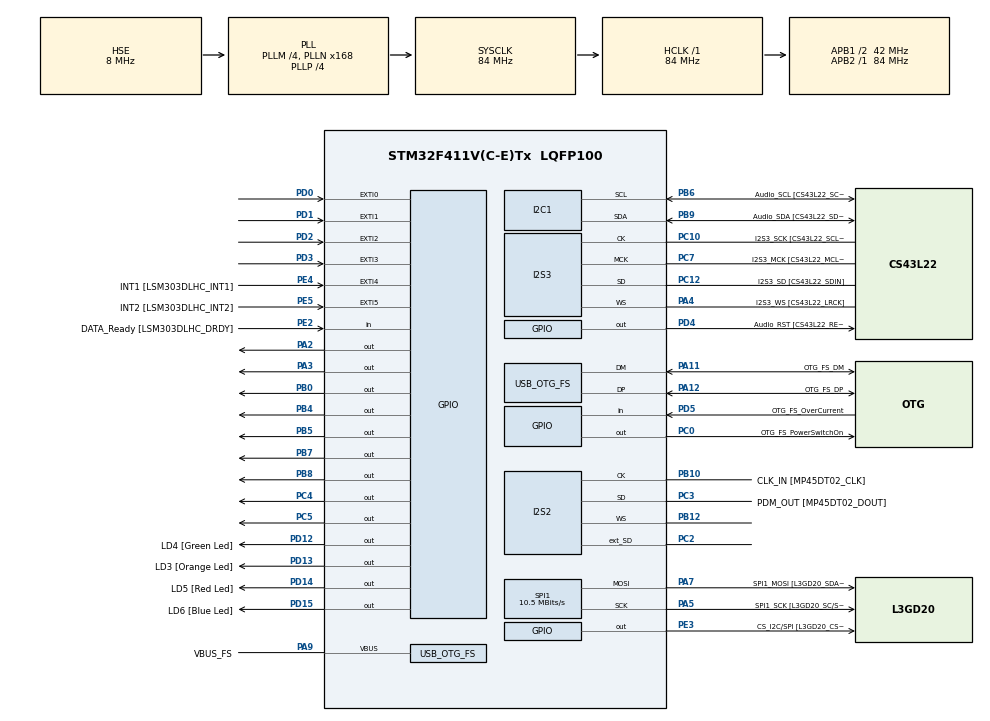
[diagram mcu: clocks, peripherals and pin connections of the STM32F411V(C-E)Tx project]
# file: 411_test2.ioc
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I2S2.AudioFreq=I2S_AUDIOFREQ_96K
I2S2.ErrorAudioFreq=0.15 %
I2S2.FullDuplexMode=I2S_FULLDUPLEXMODE_ENABLE
I2S2.Instance=SPI$Index
I2S2.RealAudioFreq=96.153 KHz
I2S2.VirtualMode=I2S_MODE_MASTER
I2S3.AudioFreq=I2S_AUDIOFREQ_96K
I2S3.ErrorAudioFreq=-6.99 %
I2S3.FullDuplexMode=I2S_FULLDUPLEXMODE_DISABLE
I2S3.Instance=SPI$Index
I2S3.RealAudioFreq=89.285 KHz
I2S3.VirtualMode=I2S_MODE_MASTER
Mcu.Family=STM32F4
Mcu.Name=STM32F411V(C-E)Tx
Mcu.Package=LQFP100
NVIC.EXTI0_IRQn=true\:0\:0\:false\:false\:true\:true\:true\:true
NVIC.EXTI1_IRQn=true\:0\:0\:false\:false\:true\:true\:true\:true
NVIC.EXTI2_IRQn=true\:0\:0\:false\:false\:true\:true\:true\:true
NVIC.EXTI3_IRQn=true\:0\:0\:false\:false\:true\:true\:true\:true
NVIC.OTG_FS_IRQn=true\:0\:0\:false\:false\:true\:true\:true\:true
NVIC.PriorityGroup=NVIC_PRIORITYGROUP_0
PA1.Signal=SPI4_MOSI
PA10.GPIO_Label=OTG_FS_ID
PA10.Signal=USB_OTG_FS_ID
PA11.GPIO_Label=OTG_FS_DM
PA11.Mode=Device_Only
PA11.Signal=USB_OTG_FS_DM
PA12.GPIO_Label=OTG_FS_DP
PA12.Mode=Device_Only
PA12.Signal=USB_OTG_FS_DP
PA13.GPIO_Label=SWDIO
PA13.Signal=SYS_JTMS-SWDIO
PA14.GPIO_Label=SWCLK
PA14.Signal=SYS_JTCK-SWCLK
PA2.Signal=GPIO_Output
PA3.Signal=GPIO_Output
PA4.GPIO_Label=I2S3_WS [CS43L22_LRCK]
PA4.GPIO_Mode=GPIO_MODE_AF_PP
PA4.GPIO_PuPd=GPIO_NOPULL
PA4.GPIO_Speed=GPIO_SPEED_FREQ_LOW
PA4.Mode=Half_Duplex_Master
PA4.Signal=I2S3_WS
PA5.GPIO_Label=SPI1_SCK [L3GD20_SC/SPC]
PA5.Mode=TX_Only_Simplex_Unidirect_Master
PA5.Signal=SPI1_SCK
PA6.GPIO_Label=SPI1_MISO [L3GD20_AS0/SDO]
PA6.Signal=SPI1_MISO
PA7.GPIO_Label=SPI1_MOSI [L3GD20_SDA/SDI/SDO]
PA7.Mode=TX_Only_Simplex_Unidirect_Master
PA7.Signal=SPI1_MOSI
PA9.GPIO_Label=VBUS_FS
PA9.Mode=Activate_VBUS
PA9.Signal=USB_OTG_FS_VBUS
PB0.Signal=GPIO_Output
PB10.GPIO_Label=CLK_IN [MP45DT02_CLK]
PB10.Mode=Full_Duplex_Master
PB10.Signal=I2S2_CK
PB12.Mode=Full_Duplex_Master
PB12.Signal=I2S2_WS
PB3.GPIO_Label=SWO
PB3.Signal=SYS_JTDO-SWO
PB4.Signal=GPIO_Output
PB5.Signal=GPIO_Output
PB6.GPIO_Label=Audio_SCL [CS43L22_SCL]
PB6.GPIO_Mode=GPIO_MODE_AF_OD
PB6.GPIO_Pu=GPIO_PULLUP
PB6.GPIO_PuPd=GPIO_NOPULL
PB6.GPIO_Speed=GPIO_SPEED_FREQ_LOW
PB6.Mode=I2C
PB6.Signal=I2C1_SCL
PB7.Signal=GPIO_Output
PB8.Signal=GPIO_Output
PB9.GPIO_Label=Audio_SDA [CS43L22_SDA]
PB9.GPIO_Mode=GPIO_MODE_AF_OD
PB9.GPIO_Pu=GPIO_PULLUP
PB9.GPIO_PuPd=GPIO_NOPULL
PB9.GPIO_Speed=GPIO_SPEED_FREQ_LOW
PB9.Mode=I2C
PB9.Signal=I2C1_SDA
PC0.GPIO_Label=OTG_FS_PowerSwitchOn
PC0.PinState=GPIO_PIN_SET
PC0.Signal=GPIO_Output
PC10.GPIO_Label=I2S3_SCK [CS43L22_SCLK]
PC10.GPIO_Mode=GPIO_MODE_AF_PP
PC10.GPIO_PuPd=GPIO_NOPULL
PC10.GPIO_Speed=GPIO_SPEED_FREQ_LOW
PC10.Mode=Half_Duplex_Master
PC10.Signal=I2S3_CK
PC12.GPIO_Label=I2S3_SD [CS43L22_SDIN]
PC12.GPIO_Mode=GPIO_MODE_AF_PP
PC12.GPIO_PuPd=GPIO_NOPULL
PC12.GPIO_Speed=GPIO_SPEED_FREQ_LOW
PC12.Mode=Half_Duplex_Master
PC12.Signal=I2S3_SD
PC14-OSC32_IN.GPIO_Label=PC14-OSC32_IN
PC14-OSC32_IN.Mode=LSE-External-Oscillator
PC14-OSC32_IN.Signal=RCC_OSC32_IN
PC15-OSC32_OUT.GPIO_Label=PC15-OSC32_OUT
PC15-OSC32_OUT.Mode=LSE-External-Oscillator
PC15-OSC32_OUT.Signal=RCC_OSC32_OUT
PC2.Mode=Full_Duplex_Master
PC2.Signal=I2S2_ext_SD
PC3.GPIO_Label=PDM_OUT [MP45DT02_DOUT]
PC3.Mode=Full_Duplex_Master
PC3.Signal=I2S2_SD
PC4.Signal=GPIO_Output
PC5.Signal=GPIO_Output
PC7.GPIO_Label=I2S3_MCK [CS43L22_MCLK]
PC7.GPIO_Mode=GPIO_MODE_AF_PP
PC7.GPIO_PuPd=GPIO_NOPULL
PC7.GPIO_Speed=GPIO_SPEED_FREQ_LOW
PC7.Mode=Master_Clock_Activated
PC7.Signal=I2S3_MCK
PD0.GPIO_PuPd=GPIO_PULLUP
PD0.Signal=GPXTI0
PD1.GPIO_PuPd=GPIO_PULLUP
PD1.Signal=GPXTI1
PD12.GPIO_Label=LD4 [Green Led]
PD12.GPIO_PuPd=GPIO_NOPULL
PD12.GPIO_Speed=GPIO_SPEED_FREQ_LOW
PD12.Signal=GPIO_Output
PD13.GPIO_Label=LD3 [Orange Led]
PD13.GPIO_PuPd=GPIO_NOPULL
PD13.GPIO_Speed=GPIO_SPEED_FREQ_LOW
PD13.Signal=GPIO_Output
PD14.GPIO_Label=LD5 [Red Led]
PD14.GPIO_PuPd=GPIO_NOPULL
PD14.GPIO_Speed=GPIO_SPEED_FREQ_LOW
PD14.Signal=GPIO_Output
PD15.GPIO_Label=LD6 [Blue Led]
PD15.GPIO_PuPd=GPIO_NOPULL
PD15.GPIO_Speed=GPIO_SPEED_FREQ_LOW
PD15.Signal=GPIO_Output
PD2.GPIO_PuPd=GPIO_PULLUP
PD2.Signal=GPXTI2
PD3.GPIO_PuPd=GPIO_PULLUP
PD3.Signal=GPXTI3
PD4.GPIO_Label=Audio_RST [CS43L22_RESET]
PD4.Signal=GPIO_Output
PD5.GPIO_Label=OTG_FS_OverCurrent
PD5.Signal=GPIO_Input
PE2.GPIO_Label=DATA_Ready [LSM303DLHC_DRDY]
PE2.Signal=GPIO_Input
PE3.GPIO_Label=CS_I2C/SPI [L3GD20_CS_I2C/SPI]
PE3.Signal=GPIO_Output
PE4.GPIO_Label=INT1 [LSM303DLHC_INT1]
PE4.GPIO_ModeDefaultEXTI=GPIO_MODE_EVT_RISING
PE4.Signal=GPXTI4
PE5.GPIO_Label=INT2 [LSM303DLHC_INT2]
PE5.GPIO_ModeDefaultEXTI=GPIO_MODE_EVT_RISING
PE5.Signal=GPXTI5
PH0\ -\ OSC_IN.GPIO_Label=PH0-OSC_IN
PH0\ -\ OSC_IN.Mode=HSE-External-Oscillator
PH0\ -\ OSC_IN.Signal=RCC_OSC_IN
PH1\ -\ OSC_OUT.GPIO_Label=PH1-OSC_OUT
PH1\ -\ OSC_OUT.Mode=HSE-External-Oscillator
PH1\ -\ OSC_OUT.Signal=RCC_OSC_OUT
ProjectManager.HeapSize=0x200
ProjectManager.StackSize=0x400
ProjectManager.TargetToolchain=STM32CubeIDE
RCC.48MHZClocksFreq_Value=48000000
RCC.AHBFreq_Value=84000000
RCC.APB1CLKDivider=RCC_HCLK_DIV2
RCC.APB1Freq_Value=42000000
RCC.APB1TimFreq_Value=84000000
RCC.APB2Freq_Value=84000000
RCC.APB2TimFreq_Value=84000000
RCC.CortexFreq_Value=84000000
RCC.HCLKFreq_Value=84000000
RCC.HSE_VALUE=8000000
RCC.HSI_VALUE=16000000
RCC.PLLI2SM=5
RCC.PLLI2SN=200
RCC.PLLM=4
RCC.PLLN=168
RCC.PLLP=RCC_PLLP_DIV4
RCC.PLLQ=7
RCC.SYSCLKFreq_VALUE=84000000
RCC.SYSCLKSource=RCC_SYSCLKSOURCE_PLLCLK
RCC.VCOOutputFreq_Value=336000000
SPI1.BaudRatePrescaler=SPI_BAUDRATEPRESCALER_8
SPI1.CalculateBaudRate=10.5 MBits/s
SPI1.Direction=SPI_DIRECTION_2LINES
SPI1.Mode=SPI_MODE_MASTER
SPI1.VirtualType=VM_MASTER
USB_DEVICE.CLASS_NAME_FS=HID
USB_DEVICE.VirtualMode=Hid
USB_DEVICE.VirtualModeFS=Hid_FS
USB_OTG_FS.VirtualMode=Device_Only
VP_USB_DEVICE_VS_USB_DEVICE_HID_FS.Mode=HID_FS
board=STM32F411E-DISCO

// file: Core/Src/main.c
/* USER CODE BEGIN Header */
/**
  ******************************************************************************
  * @file           : main.c
  * @brief          : Main program body
  ******************************************************************************
  * @attention
  *
  * Copyright (c) 2023 STMicroelectronics.
  * All rights reserved.
  *
  * This software is licensed under terms that can be found in the LICENSE file
  * in the root directory of this software component.
  * If no LICENSE file comes with this software, it is provided AS-IS.
  *
  ******************************************************************************
  */
/* USER CODE END Header */
#include "main.h"
#include "i2c.h"
#include "i2s.h"
#include "spi.h"
#include "usb_device.h"
#include "gpio.h"

/* USER CODE BEGIN Includes */
#include "lcd5110.h"

/* USER CODE END Includes */

/* USER CODE BEGIN PTD */
#define ROW_1_Pin GPIO_PIN_4
#define ROW_2_Pin GPIO_PIN_5
#define ROW_3_Pin GPIO_PIN_7
#define ROW_4_Pin GPIO_PIN_8
#define COL_1_Pin GPIO_PIN_0
#define COL_2_Pin GPIO_PIN_1
#define COL_3_Pin GPIO_PIN_2
#define COL_4_Pin GPIO_PIN_3
/* USER CODE END PTD */

/* USER CODE BEGIN PV */
GPIO_TypeDef* ROW_1_Port = GPIOB;
GPIO_TypeDef* ROW_2_Port = GPIOB;
GPIO_TypeDef* ROW_3_Port = GPIOB;
GPIO_TypeDef* ROW_4_Port = GPIOB;
GPIO_TypeDef* COL_1_Port = GPIOD;
GPIO_TypeDef* COL_2_Port = GPIOD;
GPIO_TypeDef* COL_3_Port = GPIOD;
GPIO_TypeDef* COL_4_Port = GPIOD;
/* USER CODE END PV */

void SystemClock_Config(void);
void PeriphCommonClock_Config(void);

/* USER CODE BEGIN 0 */
LCD5110_display lcd1;
void keypad_init(void)
{
  // Configure GPIO pins for keypad matrix
  GPIO_InitTypeDef GPIO_InitStruct = {0};
  GPIO_InitStruct.Pin = ROW_1_Pin | ROW_2_Pin | ROW_3_Pin | ROW_4_Pin;
  GPIO_InitStruct.Mode = GPIO_MODE_INPUT;
  GPIO_InitStruct.Pull = GPIO_PULLUP;
  HAL_GPIO_Init(ROW_1_Port, &GPIO_InitStruct);
  HAL_GPIO_Init(ROW_2_Port, &GPIO_InitStruct);
  HAL_GPIO_Init(ROW_3_Port, &GPIO_InitStruct);
  HAL_GPIO_Init(ROW_4_Port, &GPIO_InitStruct);

  GPIO_InitStruct.Pin = COL_1_Pin | COL_2_Pin | COL_3_Pin | COL_4_Pin;
  GPIO_InitStruct.Mode = GPIO_MODE_OUTPUT_PP;
  GPIO_InitStruct.Speed = GPIO_SPEED_FREQ_LOW;
  HAL_GPIO_Init(COL_1_Port, &GPIO_InitStruct);
  HAL_GPIO_Init(COL_2_Port, &GPIO_InitStruct);
  HAL_GPIO_Init(COL_3_Port, &GPIO_InitStruct);
  HAL_GPIO_Init(COL_4_Port, &GPIO_InitStruct);
}

char keypad_scan(void)
{
  char keys[4][4] = {{'1', '2', '3', 'A'},
                     {'4', '5', '6', 'B'},
                     {'7', '8', '9', 'C'},
                     {'*', '0', '#', 'D'}};

  for(int i = 0; i < 4; i++)
  {
    // Set current column as output and low
    switch(i)
    {
      case 0:
        HAL_GPIO_WritePin(COL_1_Port, COL_1_Pin, GPIO_PIN_RESET);
        HAL_GPIO_WritePin(COL_2_Port, COL_2_Pin, GPIO_PIN_SET);
        HAL_GPIO_WritePin(COL_3_Port, COL_3_Pin, GPIO_PIN_SET);
        HAL_GPIO_WritePin(COL_4_Port, COL_4_Pin, GPIO_PIN_SET);
        break;

      case 1:
        HAL_GPIO_WritePin(COL_1_Port, COL_1_Pin, GPIO_PIN_SET);
        HAL_GPIO_WritePin(COL_2_Port, COL_2_Pin, GPIO_PIN_RESET);
    HAL_GPIO_WritePin(COL_3_Port, COL_3_Pin, GPIO_PIN_SET);
    HAL_GPIO_WritePin(COL_4_Port, COL_4_Pin, GPIO_PIN_SET);
    break;

  case 2:
    HAL_GPIO_WritePin(COL_1_Port, COL_1_Pin, GPIO_PIN_SET);
    HAL_GPIO_WritePin(COL_2_Port, COL_2_Pin, GPIO_PIN_SET);
    HAL_GPIO_WritePin(COL_3_Port, COL_3_Pin, GPIO_PIN_RESET);
    HAL_GPIO_WritePin(COL_4_Port, COL_4_Pin, GPIO_PIN_SET);
    break;

  case 3:
    HAL_GPIO_WritePin(COL_1_Port, COL_1_Pin, GPIO_PIN_SET);
    HAL_GPIO_WritePin(COL_2_Port, COL_2_Pin, GPIO_PIN_SET);
    HAL_GPIO_WritePin(COL_3_Port, COL_3_Pin, GPIO_PIN_SET);
    HAL_GPIO_WritePin(COL_4_Port, COL_4_Pin, GPIO_PIN_RESET);
    break;
}
// Read current rows
if(HAL_GPIO_ReadPin(ROW_1_Port, ROW_1_Pin) == GPIO_PIN_RESET)
  return keys[0][i];
if(HAL_GPIO_ReadPin(ROW_2_Port, ROW_2_Pin) == GPIO_PIN_RESET)
  return keys[1][i];
if(HAL_GPIO_ReadPin(ROW_3_Port, ROW_3_Pin) == GPIO_PIN_RESET)
  return keys[2][i];
if(HAL_GPIO_ReadPin(ROW_4_Port, ROW_4_Pin) == GPIO_PIN_RESET)
  return keys[3][i];
}
return 0; // No key pressed
}

/* USER CODE END 0 */

int main(void)
{

  /* MCU Configuration--------------------------------------------------------*/

  /* Reset of all peripherals, Initializes the Flash interface and the Systick. */
  HAL_Init();

  /* Configure the system clock */
  SystemClock_Config();

/* Configure the peripherals common clocks */
  PeriphCommonClock_Config();

  /* Initialize all configured peripherals */
  MX_GPIO_Init();
  MX_I2C1_Init();
  MX_I2S2_Init();
  MX_I2S3_Init();
  MX_SPI1_Init();
  MX_USB_DEVICE_Init();
  /* USER CODE BEGIN 2 */

  	lcd1.hw_conf.spi_handle = &hspi1;
    lcd1.hw_conf.spi_cs_pin =  GPIO_PIN_2;
    lcd1.hw_conf.spi_cs_port = GPIOA;
    lcd1.hw_conf.rst_pin =  GPIO_PIN_0;
    lcd1.hw_conf.rst_port = GPIOB;
    lcd1.hw_conf.dc_pin =  GPIO_PIN_3;
    lcd1.hw_conf.dc_port = GPIOA;
    lcd1.def_scr = lcd5110_def_scr;
    LCD5110_init(&lcd1.hw_conf, LCD5110_NORMAL_MODE, 0x40, 2, 3);

    char buf[10] = {0};
    int pos = 0;

    char key_pressed = 0;

    rect_t rect={0,0, 83, 10};

    const unsigned char call_image[] = {
    	0xbf, 0x0f, 0x07, 0x03, 0x03, 0x01, 0x00, 0x01, 0x03, 0x1f, 0xff, 0xff, 0xff, 0xff, 0xff, 0xbd,
    	0x18, 0x18, 0x39, 0x39, 0x31, 0x73, 0xe3, 0xc7, 0x87, 0x0f, 0x1f, 0x7f, 0xff, 0xff, 0xff, 0xfc,
    	0xe0, 0x80, 0x00, 0x00, 0x00, 0x00, 0x00, 0x38, 0x7e, 0xff, 0xff, 0xff, 0xff, 0xf3, 0xf3, 0xe3,
    	0x87, 0x8e, 0xfe, 0xf8, 0xc0, 0x81, 0xcf, 0xff, 0xfc, 0xc0, 0x81, 0xcf, 0xff, 0xff, 0xff, 0xff,
    	0xff, 0xfc, 0xf8, 0xf0, 0xe0, 0xc0, 0x80, 0x01, 0x03, 0x07, 0x07, 0x0f, 0x1f, 0x1f, 0x1f, 0x0f,
    	0x0f, 0x07, 0x0f, 0x0f, 0x0f, 0x1f, 0x1f, 0x1f, 0x3f, 0x7f, 0x3f, 0x3f, 0x3f, 0x3f, 0x3f, 0x3f,
    	0x3f, 0x3f, 0x3f, 0x3f, 0x3f, 0x3f, 0x3e, 0x3e, 0x3c, 0x38, 0x38, 0x30, 0x30, 0x30, 0x20, 0x20,
    	0x20, 0x00, 0x20, 0x20, 0x30, 0x38, 0x3e, 0x3f
    };

    bool is_call;

    void init_screen() {
    	keypad_init();
		LCD5110_clear_scr(&lcd1);
		LCD5110_refresh(&lcd1);
		LCD5110_rect(&rect, 1, &lcd1);
		LCD5110_rect_fill(&rect, 1, &lcd1);
		LCD5110_set_cursor(10, 15, &lcd1);

		LCD5110_print("A-call", 0, &lcd1);

		LCD5110_set_cursor(10, 25, &lcd1);

		LCD5110_print("D-delete", 0, &lcd1);

		LCD5110_set_cursor(10, 35, &lcd1);

		LCD5110_print("C-clear last", 0, &lcd1);
		LCD5110_set_cursor(0, 0, &lcd1);
		is_call = false;
    }

    void call_screen() {
    	LCD5110_clear_scr(&lcd1);
    	LCD5110_refresh(&lcd1);
    	LCD5110_drawBitmap(25, 1, call_image, 30, 30, 0, &lcd1.hw_conf);
    	LCD5110_set_cursor(10, 40, &lcd1);
    	LCD5110_print("A-end call", 0, &lcd1);
    	is_call = true;
    }
    init_screen();

  /* USER CODE END 2 */

  /* Infinite loop */
  /* USER CODE BEGIN WHILE */
	while (1)
	{
	    key_pressed = keypad_scan();

	    if(key_pressed != 0)
	    {

	    	if (key_pressed == 'A') {
	    		if (is_call) {
	    			buf[0] = '\0';
					pos = 0;
					LCD5110_refresh(&lcd1);
					LCD5110_rect_fill(&rect, 1, &lcd1);
					LCD5110_set_cursor(0, 0, &lcd1);
	    			init_screen();
	    		}
	    		else {
	    			call_screen();
	    		}
	    	}
	    	else if (key_pressed == 'D')
	        {
	            memset(buf, ' ', sizeof(buf) - 1);
	            buf[0] = '\0';
	            pos = 0;
	            LCD5110_refresh(&lcd1);
	            LCD5110_rect_fill(&rect, 1, &lcd1);
	            LCD5110_set_cursor(0, 0, &lcd1);
	        }
	        else if (key_pressed == 'C' && pos > 0)
	                {
	        			pos--;
						buf[pos] = '\0';

						LCD5110_refresh(&lcd1);
						LCD5110_rect_fill(&rect, 1, &lcd1);
						LCD5110_set_cursor(0, 0, &lcd1);
						LCD5110_print(buf, 0, &lcd1);
	                }
	        else if (key_pressed >= '0' && key_pressed <= '9' && pos < sizeof(buf))
	        {
	            buf[pos] = key_pressed;
	            pos++;
	            buf[pos] = '\0';

	            LCD5110_set_cursor(0, 0, &lcd1);
	            LCD5110_print(buf, 0, &lcd1);
	        }
	    }
	    LCD5110_refresh(&lcd1);
	    HAL_Delay(1000);
	    LCD5110_refresh(&lcd1);
	    /* USER CODE END WHILE */
	}

  }

void SystemClock_Config(void)
{
  RCC_OscInitTypeDef RCC_OscInitStruct = {0};
  RCC_ClkInitTypeDef RCC_ClkInitStruct = {0};

  /** Configure the main internal regulator output voltage
  */
  __HAL_RCC_PWR_CLK_ENABLE();
  __HAL_PWR_VOLTAGESCALING_CONFIG(PWR_REGULATOR_VOLTAGE_SCALE1);

  /** Initializes the RCC Oscillators according to the specified parameters
  * in the RCC_OscInitTypeDef structure.
  */
  RCC_OscInitStruct.OscillatorType = RCC_OSCILLATORTYPE_HSE;
  RCC_OscInitStruct.HSEState = RCC_HSE_ON;
  RCC_OscInitStruct.PLL.PLLState = RCC_PLL_ON;
  RCC_OscInitStruct.PLL.PLLSource = RCC_PLLSOURCE_HSE;
  RCC_OscInitStruct.PLL.PLLM = 4;
  RCC_OscInitStruct.PLL.PLLN = 168;
  RCC_OscInitStruct.PLL.PLLP = RCC_PLLP_DIV4;
  RCC_OscInitStruct.PLL.PLLQ = 7;
  if (HAL_RCC_OscConfig(&RCC_OscInitStruct) != HAL_OK)
  {
    Error_Handler();
  }

  /** Initializes the CPU, AHB and APB buses clocks
  */
  RCC_ClkInitStruct.ClockType = RCC_CLOCKTYPE_HCLK|RCC_CLOCKTYPE_SYSCLK
                              |RCC_CLOCKTYPE_PCLK1|RCC_CLOCKTYPE_PCLK2;
  RCC_ClkInitStruct.SYSCLKSource = RCC_SYSCLKSOURCE_PLLCLK;
  RCC_ClkInitStruct.AHBCLKDivider = RCC_SYSCLK_DIV1;
  RCC_ClkInitStruct.APB1CLKDivider = RCC_HCLK_DIV2;
  RCC_ClkInitStruct.APB2CLKDivider = RCC_HCLK_DIV1;

  if (HAL_RCC_ClockConfig(&RCC_ClkInitStruct, FLASH_LATENCY_2) != HAL_OK)
  {
    Error_Handler();
  }
}

void PeriphCommonClock_Config(void)
{
  RCC_PeriphCLKInitTypeDef PeriphClkInitStruct = {0};

  /** Initializes the peripherals clock
  */
  PeriphClkInitStruct.PeriphClockSelection = RCC_PERIPHCLK_I2S;
  PeriphClkInitStruct.PLLI2S.PLLI2SN = 200;
  PeriphClkInitStruct.PLLI2S.PLLI2SM = 5;
  PeriphClkInitStruct.PLLI2S.PLLI2SR = 2;
  if (HAL_RCCEx_PeriphCLKConfig(&PeriphClkInitStruct) != HAL_OK)
  {
    Error_Handler();
  }
}

/* USER CODE BEGIN 4 */

/* USER CODE BEGIN 4 */

/* USER CODE END 4 */

void Error_Handler(void)
{
  __disable_irq();
  while (1)
  {
  }
}
